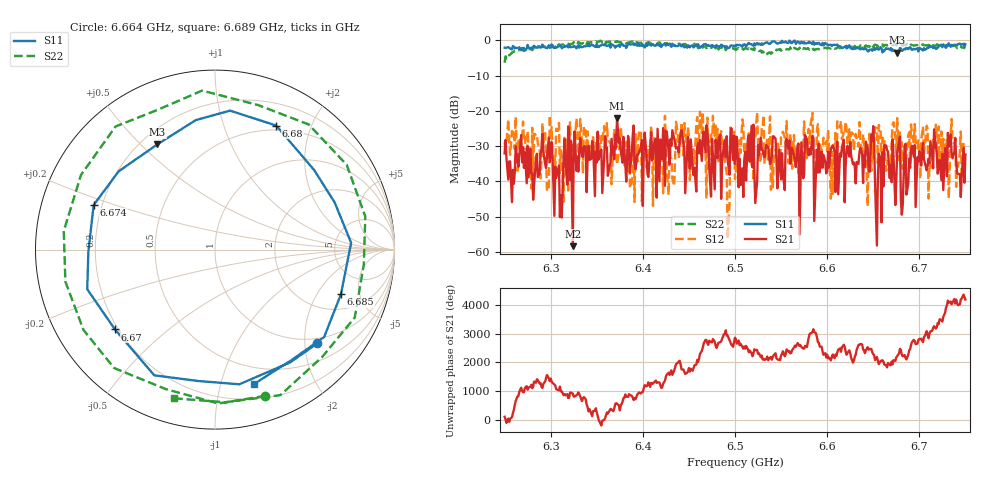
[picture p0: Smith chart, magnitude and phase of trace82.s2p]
# Hz S RI R 50
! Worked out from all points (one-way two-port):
!   401 points, 6.25 GHz to 6.75 GHz, reference 50 ohm
!   highest |S21| = -22.10 dB at 6.372 GHz (marker M1); lowest = -58.3 dB at 6.324 GHz (marker M2)
!   lowest |S11| = -3.5 dB at 6.676 GHz (marker M3), VSWR 5.03, Z = 13.2 + j28.1 ohm
!   |S11| at or under -10 dB: nowhere
!   |S22| runs from -6.4 to -0.1 dB; largest |S21 - S12| = 0.13
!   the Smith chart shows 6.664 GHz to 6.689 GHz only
!   S11 on the Smith chart (normalised r, x): 6.664 GHz: 0.88, -2.28; 6.67 GHz: 0.19, -0.34; 6.674 GHz: 0.17, +0.17; 6.68 GHz: 0.45, +1.52; 6.685 GHz: 2.96, -3.30; 6.689 GHz: 0.33, -1.27
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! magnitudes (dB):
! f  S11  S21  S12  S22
! 6.25 GHz  -2.1  -32.0  -28.8  -6.4
! 6.324 GHz  -1.9  -58.3  -29.6  -1.0
! 6.334 GHz  -2.0  -32.9  -29.0  -0.9
! 6.372 GHz  -1.7  -22.1  -35.2  -0.3
! 6.418 GHz  -1.6  -40.0  -30.9  -0.6
! 6.479 GHz  -1.8  -28.2  -23.9  -2.3
! 6.491 GHz  -1.7  -27.2  -37.7  -2.1
! 6.5 GHz  -1.4  -35.0  -39.4  -2.4
! 6.506 GHz  -1.4  -41.0  -31.9  -2.3
! 6.518 GHz  -1.2  -24.2  -35.6  -2.3
! 6.584 GHz  -1.1  -27.0  -20.5  -2.1
! 6.649 GHz  -3.0  -28.6  -27.6  -1.5
! 6.656 GHz  -2.6  -32.1  -24.0  -1.8
! 6.664 GHz  -2.2  -29.8  -37.0  -1.3
! 6.668 GHz  -2.6  -39.1  -39.2  -1.2
! 6.67 GHz  -2.9  -40.2  -28.4  -1.4
! 6.674 GHz  -2.8  -46.7  -27.5  -1.1
! 6.676 GHz  -3.5  -32.0  -22.0  -1.0
! 6.68 GHz  -2.3  -45.2  -35.3  -1.2
! 6.685 GHz  -2.6  -29.3  -36.9  -1.5
! 6.689 GHz  -2.2  -33.6  -26.1  -1.3
! 6.75 GHz  -1.1  -32.3  -31.4  -2.3
